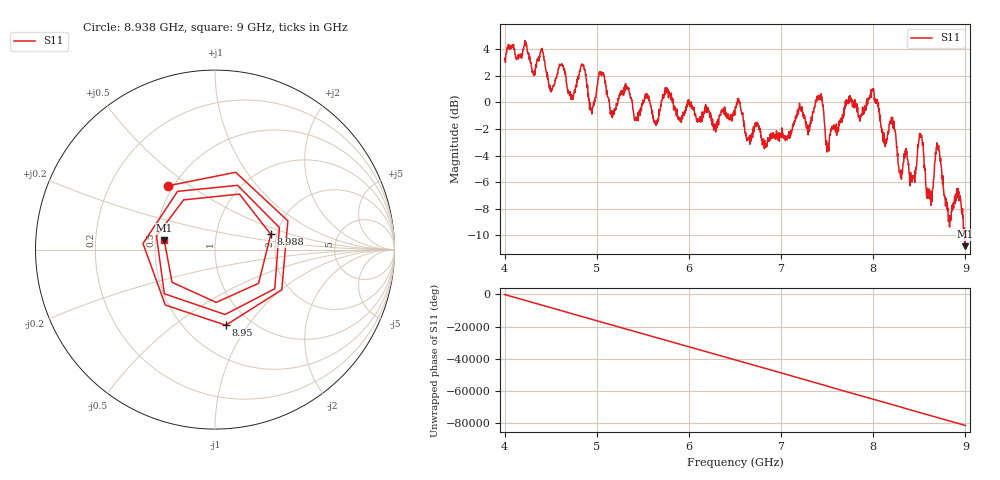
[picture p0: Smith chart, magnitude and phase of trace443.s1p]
! Created with skrf 1.8.0 (http://scikit-rf.org).
# Hz S RI R 50.0
!freq ReS11 ImS11
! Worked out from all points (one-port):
!   1601 points, 4 GHz to 9 GHz, reference 50 ohm
!   lowest |S11| = -10.8 dB at 9 GHz (marker M1), VSWR 1.81, Z = 27.8 + j3.14 ohm
!   |S11| at or under -10 dB: 8.989175 GHz to end of sweep
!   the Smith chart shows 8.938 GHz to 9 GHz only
!   S11 on the Smith chart (normalised r, x): 8.938 GHz: 0.47, +0.41; 8.95 GHz: 0.77, -0.79; 8.988 GHz: 1.86, +0.35; 9 GHz: 0.56, +0.06
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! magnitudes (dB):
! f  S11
! 4 GHz  3.3
! 4.625 GHz  2.8
! 4.725 GHz  0.6
! 4.85 GHz  2.7
! 4.944 GHz  -0.4
! 5.05 GHz  2.2
! 5.162 GHz  -1.0
! 5.25 GHz  0.5
! 5.875 GHz  -1.0
! 6.5 GHz  -0.8
! 6.822 GHz  -2.9
! 7.125 GHz  -1.7
! 7.422 GHz  0.4
! 7.509 GHz  -3.1
! 7.75 GHz  0.4
! 7.991 GHz  1.0
! 8.219 GHz  -1.6
! 8.294 GHz  -5.5
! 8.375 GHz  -4.3
! 8.434 GHz  -5.6
! 8.516 GHz  -2.5
! 8.616 GHz  -7.2
! 8.7 GHz  -3.2
! 8.819 GHz  -8.7
! 8.938 GHz  -7.1
! 8.95 GHz  -7.4
! 8.988 GHz  -9.8
! 9 GHz  -10.8
